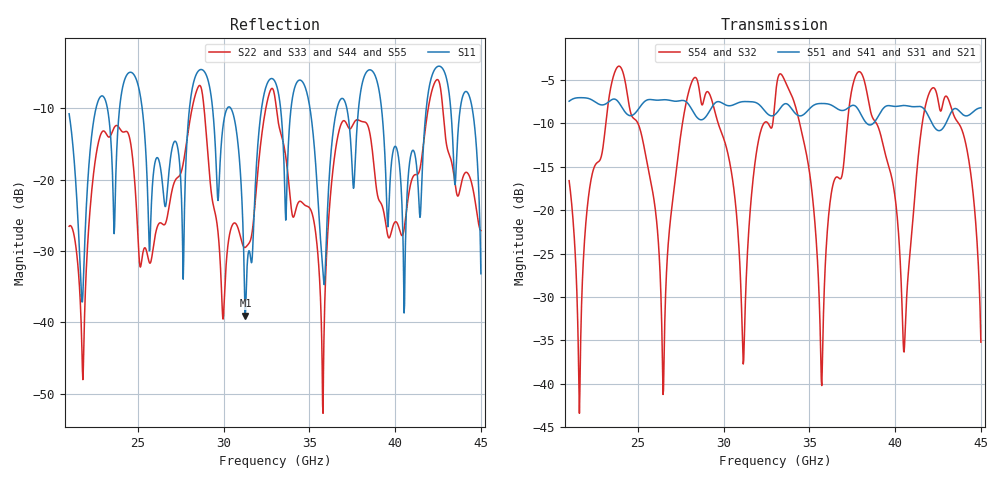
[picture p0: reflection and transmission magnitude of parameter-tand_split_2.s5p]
! Created Mon Jun 10 12:47:06 2024
# hz S ma R 50
! 5 Port Network Data from SP1.SP block
! freq  magS11  angS11  magS12  angS12  magS13  angS13  magS14  angS14
!  magS15  angS15
!  magS21  angS21  magS22  angS22  magS23  angS23
!  magS24  angS24  magS25  angS25
!  magS31  angS31  magS32  angS32
!  magS33  angS33  magS34  angS34  magS35  angS35
!  magS41  angS41
!  magS42  angS42  magS43  angS43  magS44  angS44  magS45  angS45
!  magS51  angS51  magS52  angS52  magS53  angS53  magS54  angS54
!  magS55  angS55
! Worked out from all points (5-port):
!   961 points, 21 GHz to 45 GHz, reference 50 ohm
!   strongest paths, dB at 21 GHz, 27 GHz, 33 GHz, 39 GHz, 45 GHz:
!     S51: -7.4, -7.4, -9.0, -9.2, -8.2
!     S41: -7.4, -7.4, -9.0, -9.2, -8.2
!     S31: -7.4, -7.4, -9.0, -9.2, -8.2
!     S21: -7.4, -7.4, -9.0, -9.2, -8.2
!     S54: -16.6, -19.5, -7.4, -10.3, -35.2
!     S32: -16.6, -19.5, -7.4, -10.3, -35.2
!   lowest |S11| = -39.1 dB at 31.27 GHz (marker M1), VSWR 1.02, Z = 50.7 + j0.84 ohm
!   |S11| at or under -10 dB: 25.26 GHz to 28.01 GHz (2.756 GHz wide, 10.3 % of centre); 30.43 GHz to 32.22 GHz (1.785 GHz wide, 5.7 % of centre); 39.21 GHz to 41.82 GHz (2.608 GHz wide, 6.44 % of centre)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
